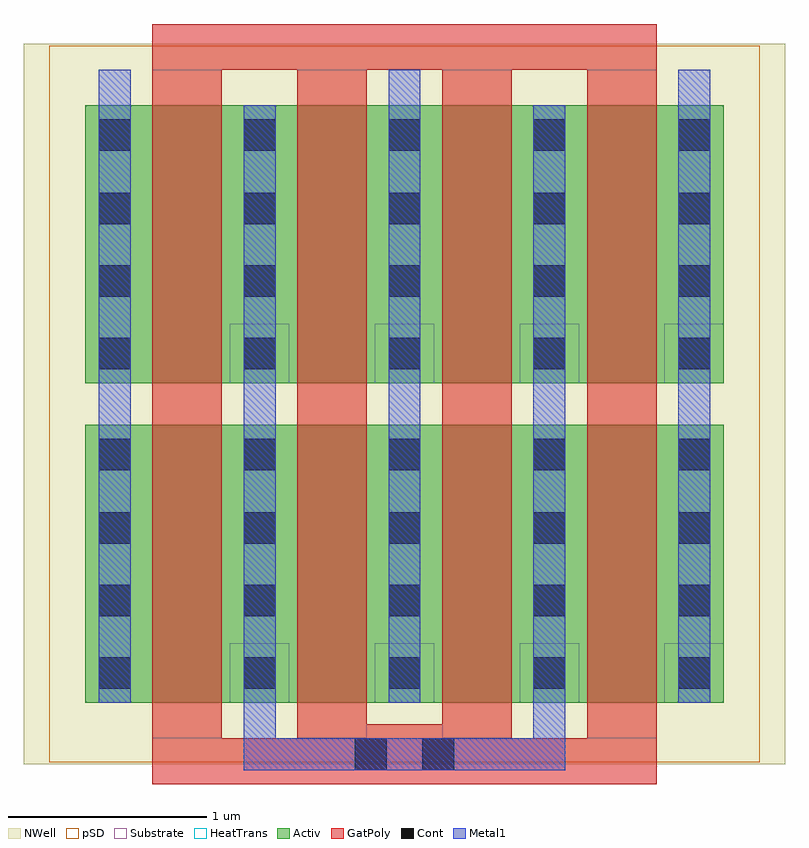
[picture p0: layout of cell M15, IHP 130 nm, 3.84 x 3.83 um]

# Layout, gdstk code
import gdstk
lib = gdstk.Library(unit=1e-6, precision=1e-09)
def R(c, l, rs):  # rectangles x0, y0, x1, y1
    for r in rs: c.add(gdstk.rectangle(r[:2], r[2:], *l))
def A(c, l, x, y, w, h, nx, ny, dx, dy):  # array of equal rectangles
    R(c, l, [(x+i*dx, y+j*dy, x+i*dx+w, y+j*dy+h) for i in range(nx) for j in range(ny)])
Activ = (1, 0)
GatPoly = (5, 0)
Cont = (6, 0)
Metal1 = (8, 0)
pSD = (14, 0)
NWell = (31, 0)
Substrate = (40, 0)
HeatTrans = (51, 0)

pmos_4 = lib.new_cell('pmos$4')
R(pmos_4, Activ, [(0,0,0.3,0.3), (0,0,1.03,1.4), (0.73,0,1.03,0.3)])
R(pmos_4, GatPoly, [(0.34,-0.18,0.69,1.58), (0.34,-0.18,0.69,1.58)])
A(pmos_4, Cont, 0.07, 0.07, 0.16, 0.16, 1, 3, 0, 0.365)
A(pmos_4, Cont, 0.8, 0.07, 0.16, 0.16, 1, 3, 0, 0.365)
R(pmos_4, Cont, [(0.07,1.17,0.23,1.33), (0.8,1.17,0.96,1.33)])
R(pmos_4, Metal1, [(0.07,0,0.23,1.4), (0.07,0,0.23,1.4), (0.8,0,0.96,1.4), (0.8,0,0.96,1.4)])
R(pmos_4, pSD, [(-0.18,-0.3,1.21,1.7)])
R(pmos_4, NWell, [(-0.31,-0.31,1.34,1.71)])
R(pmos_4, Substrate, [(0.73,0,1.03,0.3)])
R(pmos_4, HeatTrans, [(0.34,-0.18,0.69,1.58)])
pmos_4.add(gdstk.Label('pmos', (0.515,0.7), layer=63, texttype=0))
pmos_4.add(gdstk.Label('pmos', (0.515,0.7), layer=51, texttype=0))

cont_m15 = lib.new_cell('Cont_M15')
R(cont_m15, Metal1, [(-0.09,-0.075,0.07,0.105)])

via_stack_19 = lib.new_cell('via_stack$19')
R(via_stack_19, GatPoly, [(-0.32,-0.15,0.32,0.15)])
R(via_stack_19, Cont, [(-0.25,-0.08,-0.09,0.08), (0.09,-0.08,0.25,0.08)])
R(via_stack_19, Metal1, [(-0.3,-0.08,0.3,0.08)])

m15 = lib.new_cell('M15')
R(m15, GatPoly, [(-0.115,-0.55,0.835,-0.32), (1.475,-0.55,2.425,-0.32), (-0.115,3.05,2.425,3.28)])
A(m15, Metal1, -0.385, 1.26, 0.16, 0.21, 5, 1, 0.73, 0)
R(m15, Metal1, [(0.345,-0.48,1.965,-0.32)])
r = gdstk.Reference(pmos_4, (-0.455,-0.14)); r.repetition = gdstk.Repetition(4, 2, v1=(0.73,0), v2=(0,1.61)); m15.add(r)
r = gdstk.Reference(cont_m15, (-0.295,2.945)); r.repetition = gdstk.Repetition(3, 1, v1=(1.46,0), v2=(0,0)); m15.add(r)
r = gdstk.Reference(cont_m15, (0.435,-0.245)); r.repetition = gdstk.Repetition(2, 1, v1=(1.46,0), v2=(0,0)); m15.add(r)
m15.add(gdstk.Reference(via_stack_19, (1.155,-0.4)))

lib.write_gds('M15.gds')
